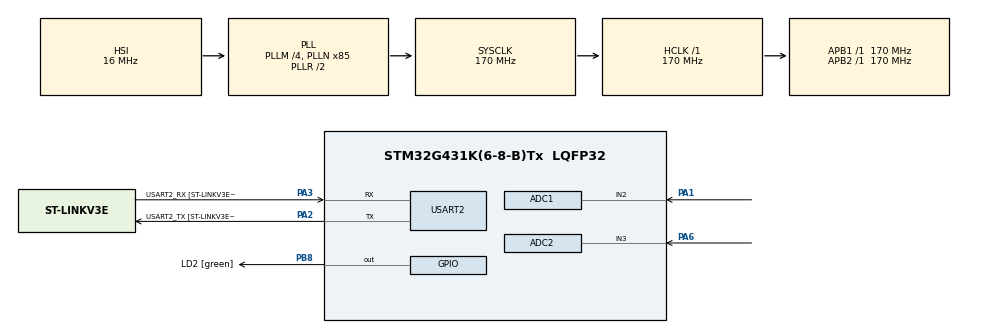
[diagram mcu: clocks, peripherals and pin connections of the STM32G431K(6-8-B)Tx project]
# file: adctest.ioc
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ADC1.Channel-1\#ChannelRegularConversion=ADC_CHANNEL_2
ADC1.ContinuousConvMode=ENABLE
ADC1.NbrOfConversionFlag=1
ADC1.OffsetNumber-1\#ChannelRegularConversion=ADC_OFFSET_NONE
ADC1.Rank-1\#ChannelRegularConversion=1
ADC1.SamplingTime-1\#ChannelRegularConversion=ADC_SAMPLETIME_2CYCLES_5
ADC1.master=1
ADC2.Channel-3\#ChannelRegularConversion=ADC_CHANNEL_3
ADC2.NbrOfConversionFlag=1
ADC2.OffsetNumber-3\#ChannelRegularConversion=ADC_OFFSET_NONE
ADC2.Rank-3\#ChannelRegularConversion=1
ADC2.SamplingTime-3\#ChannelRegularConversion=ADC_SAMPLETIME_2CYCLES_5
Mcu.Family=STM32G4
Mcu.Name=STM32G431K(6-8-B)Tx
Mcu.Package=LQFP32
NVIC.PriorityGroup=NVIC_PRIORITYGROUP_4
PA1.Mode=IN2-Single-Ended
PA1.Signal=ADC1_IN2
PA13.GPIO_Label=T_SWDIO
PA13.Mode=Serial_Wire
PA13.Signal=SYS_JTMS-SWDIO
PA14.GPIO_Label=T_SWCLK
PA14.Mode=Serial_Wire
PA14.Signal=SYS_JTCK-SWCLK
PA2.GPIO_Label=USART2_TX [ST-LINKV3E_VCP_RX]
PA2.Mode=Asynchronous
PA2.Signal=USART2_TX
PA3.GPIO_Label=USART2_RX [ST-LINKV3E_VCP_TX]
PA3.Mode=Asynchronous
PA3.Signal=USART2_RX
PA6.Mode=IN3-Single-Ended
PA6.Signal=ADC2_IN3
PB3.GPIO_Label=T_SWO
PB3.Signal=SYS_JTDO-SWO
PB8-BOOT0.GPIO_Label=LD2 [green]
PB8-BOOT0.Signal=GPIO_Output
ProjectManager.HeapSize=0x200
ProjectManager.StackSize=0x400
ProjectManager.TargetToolchain=STM32CubeIDE
RCC.ADC12Freq_Value=170000000
RCC.AHBFreq_Value=170000000
RCC.APB1Freq_Value=170000000
RCC.APB1TimFreq_Value=170000000
RCC.APB2Freq_Value=170000000
RCC.APB2TimFreq_Value=170000000
RCC.CortexFreq_Value=170000000
RCC.EXTERNAL_CLOCK_VALUE=12288000
RCC.HCLKFreq_Value=170000000
RCC.HSE_VALUE=8000000
RCC.HSI48_VALUE=48000000
RCC.HSI_VALUE=16000000
RCC.LSE_VALUE=32768
RCC.PLLM=RCC_PLLM_DIV4
RCC.PLLN=85
RCC.SYSCLKFreq_VALUE=170000000
RCC.SYSCLKSource=RCC_SYSCLKSOURCE_PLLCLK
RCC.USBFreq_Value=170000000
RCC.VCOOutputFreq_Value=340000000
USART2.VirtualMode-Asynchronous=VM_ASYNC
USART2.WordLength=WORDLENGTH_8B
board=NUCLEO-G431KB

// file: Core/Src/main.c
/* USER CODE BEGIN Header */
/**
  ******************************************************************************
  * @file           : main.c
  * @brief          : Main program body
  ******************************************************************************
  * @attention
  *
  * Copyright (c) 2022 STMicroelectronics.
  * All rights reserved.
  *
  * This software is licensed under terms that can be found in the LICENSE file
  * in the root directory of this software component.
  * If no LICENSE file comes with this software, it is provided AS-IS.
  *
  ******************************************************************************
  */
/* USER CODE END Header */
#include "main.h"

ADC_HandleTypeDef hadc1;
ADC_HandleTypeDef hadc2;

UART_HandleTypeDef huart2;

void SystemClock_Config(void);
static void MX_GPIO_Init(void);
static void MX_USART2_UART_Init(void);
static void MX_ADC2_Init(void);
static void MX_ADC1_Init(void);
/* USER CODE BEGIN PFP */
void ADC_set_ch_1();
void ADC_set_ch_2();
/* USER CODE END PFP */

/* USER CODE BEGIN 0 */

uint32_t x[2]= {0,0};
/* USER CODE END 0 */

int main(void)
{

  /* MCU Configuration--------------------------------------------------------*/

  /* Reset of all peripherals, Initializes the Flash interface and the Systick. */
  HAL_Init();

  /* Configure the system clock */
  SystemClock_Config();

  /* Initialize all configured peripherals */
  MX_GPIO_Init();
  MX_USART2_UART_Init();
  MX_ADC2_Init();
  MX_ADC1_Init();

  /* Infinite loop */
  while (1)
  {

    /* USER CODE BEGIN 3 */

	  HAL_ADC_Start(&hadc2);
	  HAL_ADC_PollForConversion(&hadc2, 1000);
	  x[0] = HAL_ADC_GetValue(&hadc2);
	  HAL_ADC_Stop(&hadc2);

	  HAL_ADC_Start(&hadc1);
	  HAL_ADC_PollForConversion(&hadc1, 1000);
	  x[1] = HAL_ADC_GetValue(&hadc1);
	  HAL_ADC_Stop(&hadc1);

  }
  /* USER CODE END 3 */
}

void SystemClock_Config(void)
{
  RCC_OscInitTypeDef RCC_OscInitStruct = {0};
  RCC_ClkInitTypeDef RCC_ClkInitStruct = {0};

  /** Configure the main internal regulator output voltage
  */
  HAL_PWREx_ControlVoltageScaling(PWR_REGULATOR_VOLTAGE_SCALE1_BOOST);

  /** Initializes the RCC Oscillators according to the specified parameters
  * in the RCC_OscInitTypeDef structure.
  */
  RCC_OscInitStruct.OscillatorType = RCC_OSCILLATORTYPE_HSI;
  RCC_OscInitStruct.HSIState = RCC_HSI_ON;
  RCC_OscInitStruct.HSICalibrationValue = RCC_HSICALIBRATION_DEFAULT;
  RCC_OscInitStruct.PLL.PLLState = RCC_PLL_ON;
  RCC_OscInitStruct.PLL.PLLSource = RCC_PLLSOURCE_HSI;
  RCC_OscInitStruct.PLL.PLLM = RCC_PLLM_DIV4;
  RCC_OscInitStruct.PLL.PLLN = 85;
  RCC_OscInitStruct.PLL.PLLP = RCC_PLLP_DIV2;
  RCC_OscInitStruct.PLL.PLLQ = RCC_PLLQ_DIV2;
  RCC_OscInitStruct.PLL.PLLR = RCC_PLLR_DIV2;
  if (HAL_RCC_OscConfig(&RCC_OscInitStruct) != HAL_OK)
  {
    Error_Handler();
  }

  /** Initializes the CPU, AHB and APB buses clocks
  */
  RCC_ClkInitStruct.ClockType = RCC_CLOCKTYPE_HCLK|RCC_CLOCKTYPE_SYSCLK
                              |RCC_CLOCKTYPE_PCLK1|RCC_CLOCKTYPE_PCLK2;
  RCC_ClkInitStruct.SYSCLKSource = RCC_SYSCLKSOURCE_PLLCLK;
  RCC_ClkInitStruct.AHBCLKDivider = RCC_SYSCLK_DIV1;
  RCC_ClkInitStruct.APB1CLKDivider = RCC_HCLK_DIV1;
  RCC_ClkInitStruct.APB2CLKDivider = RCC_HCLK_DIV1;

  if (HAL_RCC_ClockConfig(&RCC_ClkInitStruct, FLASH_LATENCY_4) != HAL_OK)
  {
    Error_Handler();
  }
}

static void MX_ADC1_Init(void)
{

  ADC_MultiModeTypeDef multimode = {0};
  ADC_ChannelConfTypeDef sConfig = {0};

  /** Common config
  */
  hadc1.Instance = ADC1;
  hadc1.Init.ClockPrescaler = ADC_CLOCK_SYNC_PCLK_DIV4;
  hadc1.Init.Resolution = ADC_RESOLUTION_12B;
  hadc1.Init.DataAlign = ADC_DATAALIGN_RIGHT;
  hadc1.Init.GainCompensation = 0;
  hadc1.Init.ScanConvMode = ADC_SCAN_DISABLE;
  hadc1.Init.EOCSelection = ADC_EOC_SINGLE_CONV;
  hadc1.Init.LowPowerAutoWait = DISABLE;
  hadc1.Init.ContinuousConvMode = ENABLE;
  hadc1.Init.NbrOfConversion = 1;
  hadc1.Init.DiscontinuousConvMode = DISABLE;
  hadc1.Init.ExternalTrigConv = ADC_SOFTWARE_START;
  hadc1.Init.ExternalTrigConvEdge = ADC_EXTERNALTRIGCONVEDGE_NONE;
  hadc1.Init.DMAContinuousRequests = DISABLE;
  hadc1.Init.Overrun = ADC_OVR_DATA_PRESERVED;
  hadc1.Init.OversamplingMode = DISABLE;
  if (HAL_ADC_Init(&hadc1) != HAL_OK)
  {
    Error_Handler();
  }

  /** Configure the ADC multi-mode
  */
  multimode.Mode = ADC_MODE_INDEPENDENT;
  if (HAL_ADCEx_MultiModeConfigChannel(&hadc1, &multimode) != HAL_OK)
  {
    Error_Handler();
  }

  /** Configure Regular Channel
  */
  sConfig.Channel = ADC_CHANNEL_2;
  sConfig.Rank = ADC_REGULAR_RANK_1;
  sConfig.SamplingTime = ADC_SAMPLETIME_2CYCLES_5;
  sConfig.SingleDiff = ADC_SINGLE_ENDED;
  sConfig.OffsetNumber = ADC_OFFSET_NONE;
  sConfig.Offset = 0;
  if (HAL_ADC_ConfigChannel(&hadc1, &sConfig) != HAL_OK)
  {
    Error_Handler();
  }

}

static void MX_ADC2_Init(void)
{

  ADC_ChannelConfTypeDef sConfig = {0};

  /** Common config
  */
  hadc2.Instance = ADC2;
  hadc2.Init.ClockPrescaler = ADC_CLOCK_SYNC_PCLK_DIV4;
  hadc2.Init.Resolution = ADC_RESOLUTION_12B;
  hadc2.Init.DataAlign = ADC_DATAALIGN_RIGHT;
  hadc2.Init.GainCompensation = 0;
  hadc2.Init.ScanConvMode = ADC_SCAN_DISABLE;
  hadc2.Init.EOCSelection = ADC_EOC_SINGLE_CONV;
  hadc2.Init.LowPowerAutoWait = DISABLE;
  hadc2.Init.ContinuousConvMode = DISABLE;
  hadc2.Init.NbrOfConversion = 1;
  hadc2.Init.DiscontinuousConvMode = DISABLE;
  hadc2.Init.ExternalTrigConv = ADC_SOFTWARE_START;
  hadc2.Init.ExternalTrigConvEdge = ADC_EXTERNALTRIGCONVEDGE_NONE;
  hadc2.Init.DMAContinuousRequests = DISABLE;
  hadc2.Init.Overrun = ADC_OVR_DATA_PRESERVED;
  hadc2.Init.OversamplingMode = DISABLE;
  if (HAL_ADC_Init(&hadc2) != HAL_OK)
  {
    Error_Handler();
  }

  /** Configure Regular Channel
  */
  sConfig.Channel = ADC_CHANNEL_3;
  sConfig.Rank = ADC_REGULAR_RANK_1;
  sConfig.SamplingTime = ADC_SAMPLETIME_2CYCLES_5;
  sConfig.SingleDiff = ADC_SINGLE_ENDED;
  sConfig.OffsetNumber = ADC_OFFSET_NONE;
  sConfig.Offset = 0;
  if (HAL_ADC_ConfigChannel(&hadc2, &sConfig) != HAL_OK)
  {
    Error_Handler();
  }

}

static void MX_USART2_UART_Init(void)
{

  huart2.Instance = USART2;
  huart2.Init.BaudRate = 115200;
  huart2.Init.WordLength = UART_WORDLENGTH_8B;
  huart2.Init.StopBits = UART_STOPBITS_1;
  huart2.Init.Parity = UART_PARITY_NONE;
  huart2.Init.Mode = UART_MODE_TX_RX;
  huart2.Init.HwFlowCtl = UART_HWCONTROL_NONE;
  huart2.Init.OverSampling = UART_OVERSAMPLING_16;
  huart2.Init.OneBitSampling = UART_ONE_BIT_SAMPLE_DISABLE;
  huart2.Init.ClockPrescaler = UART_PRESCALER_DIV1;
  huart2.AdvancedInit.AdvFeatureInit = UART_ADVFEATURE_NO_INIT;
  if (HAL_UART_Init(&huart2) != HAL_OK)
  {
    Error_Handler();
  }
  if (HAL_UARTEx_SetTxFifoThreshold(&huart2, UART_TXFIFO_THRESHOLD_1_8) != HAL_OK)
  {
    Error_Handler();
  }
  if (HAL_UARTEx_SetRxFifoThreshold(&huart2, UART_RXFIFO_THRESHOLD_1_8) != HAL_OK)
  {
    Error_Handler();
  }
  if (HAL_UARTEx_DisableFifoMode(&huart2) != HAL_OK)
  {
    Error_Handler();
  }

}

static void MX_GPIO_Init(void)
{
  GPIO_InitTypeDef GPIO_InitStruct = {0};

  /* GPIO Ports Clock Enable */
  __HAL_RCC_GPIOA_CLK_ENABLE();
  __HAL_RCC_GPIOB_CLK_ENABLE();

  /*Configure GPIO pin Output Level */
  HAL_GPIO_WritePin(LD2_GPIO_Port, LD2_Pin, GPIO_PIN_RESET);

  /*Configure GPIO pin : LD2_Pin */
  GPIO_InitStruct.Pin = LD2_Pin;
  GPIO_InitStruct.Mode = GPIO_MODE_OUTPUT_PP;
  GPIO_InitStruct.Pull = GPIO_NOPULL;
  GPIO_InitStruct.Speed = GPIO_SPEED_FREQ_LOW;
  HAL_GPIO_Init(LD2_GPIO_Port, &GPIO_InitStruct);

}

/* USER CODE BEGIN 4 */
void ADC_set_ch_1(){
	ADC_ChannelConfTypeDef sConfig = {0};
		  sConfig.Channel = ADC_CHANNEL_1;
		  sConfig.Rank = 1;
		  sConfig.SamplingTime = ADC_SAMPLETIME_247CYCLES_5;
		  if (HAL_ADC_ConfigChannel(&hadc2, &sConfig) != HAL_OK)
		  {
		    Error_Handler();
		  }

}
void ADC_set_ch_2(){
	ADC_ChannelConfTypeDef sConfig = {0};
			  sConfig.Channel = ADC_CHANNEL_2;
			  sConfig.Rank = 1;
			  sConfig.SamplingTime = ADC_SAMPLETIME_247CYCLES_5;
			  if (HAL_ADC_ConfigChannel(&hadc2, &sConfig) != HAL_OK)
			  {
			    Error_Handler();
			  }

}
/* USER CODE END 4 */

void Error_Handler(void)
{
  __disable_irq();
  while (1)
  {
  }
}
